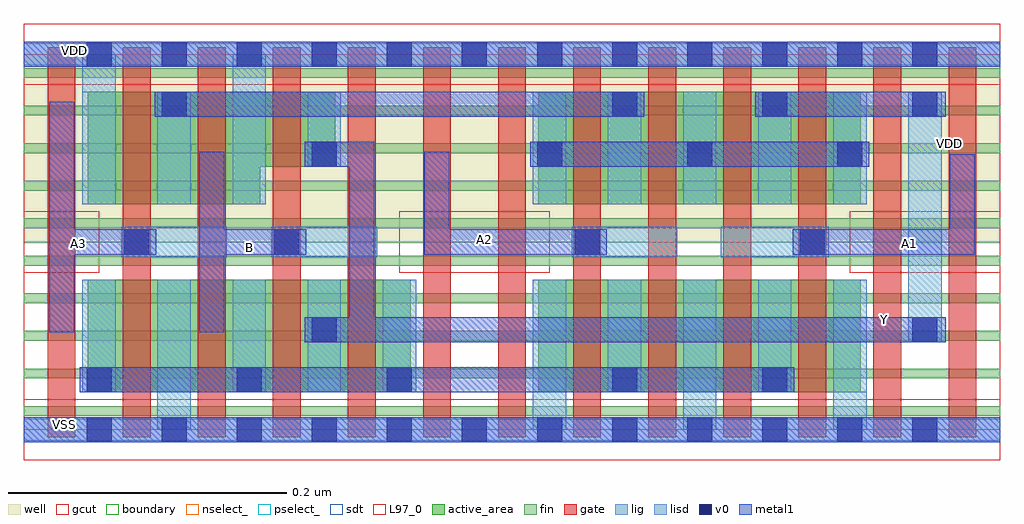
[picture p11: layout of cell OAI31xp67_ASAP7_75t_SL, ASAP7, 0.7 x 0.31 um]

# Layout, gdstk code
import gdstk
lib = gdstk.Library(unit=1e-6, precision=2.5e-10)
def R(c, l, rs):  # rectangles x0, y0, x1, y1
    for r in rs: c.add(gdstk.rectangle(r[:2], r[2:], *l))
def A(c, l, x, y, w, h, nx, ny, dx, dy):  # array of equal rectangles
    R(c, l, [(x+i*dx, y+j*dy, x+i*dx+w, y+j*dy+h) for i in range(nx) for j in range(ny)])
def P(c, l, *ps):  # polygons
    for p in ps: c.add(gdstk.Polygon(p, *l))
well = (1, 0)
fin = (2, 0)
gate = (7, 0)
gcut = (10, 0)
active_area = (11, 0)
nselect_ = (12, 0)
pselect_ = (13, 0)
lig = (16, 0)
lisd = (17, 0)
v0 = (18, 0)
metal1 = (19, 0)
sdt = (88, 0)
L97_0 = (97, 0)
boundary = (100, 0)

oai31xp67_asap7_75t_sl = lib.new_cell('OAI31xp67_ASAP7_75t_SL')
R(oai31xp67_asap7_75t_sl, well, [(0,0.135,0.702,0.27)])
A(oai31xp67_asap7_75t_sl, fin, 0, 0.01, 0.702, 0.007, 1, 10, 0, 0.027)
A(oai31xp67_asap7_75t_sl, gate, 0.017, -0.0055, 0.02, 0.2805, 13, 1, 0.054, 0)
R(oai31xp67_asap7_75t_sl, gcut, [(0,-0.022,0.702,0.022), (0,0.113,0.054,0.157), (0.27,0.113,0.378,0.157), (0.594,0.113,0.702,0.157), (0,0.248,0.702,0.292)])
R(oai31xp67_asap7_75t_sl, active_area, [(0.046,0.027,0.278,0.108), (0.37,0.027,0.602,0.108), (0.37,0.162,0.602,0.243)])
P(oai31xp67_asap7_75t_sl, active_area, [(0.224,0.243),(0.046,0.243),(0.046,0.162),(0.17,0.162),(0.17,0.189),(0.224,0.189)])
R(oai31xp67_asap7_75t_sl, nselect_, [(0,0,0.702,0.135)])
R(oai31xp67_asap7_75t_sl, pselect_, [(0,0.135,0.702,0.27)])
R(oai31xp67_asap7_75t_sl, lig, [(0,-0.008,0.702,0.008), (0.07,0.124,0.146,0.146), (0.178,0.124,0.254,0.146), (0.394,0.124,0.47,0.146), (0.501,0.124,0.579,0.146), (0,0.262,0.702,0.278)])
A(oai31xp67_asap7_75t_sl, lisd, 0.366, 0, 0.024, 0.108, 3, 1, 0.108, 0)
A(oai31xp67_asap7_75t_sl, lisd, 0.15, 0.027, 0.024, 0.081, 3, 1, 0.054, 0)
A(oai31xp67_asap7_75t_sl, lisd, 0.366, 0.162, 0.024, 0.081, 5, 1, 0.054, 0)
R(oai31xp67_asap7_75t_sl, lisd, [(0.096,0,0.12,0.108), (0.042,0.027,0.066,0.108), (0.42,0.027,0.444,0.108), (0.528,0.027,0.552,0.108), (0.636,0.063,0.66,0.243), (0.042,0.162,0.066,0.27), (0.096,0.162,0.12,0.243), (0.15,0.162,0.174,0.27), (0.204,0.189,0.228,0.243)])
A(oai31xp67_asap7_75t_sl, v0, 0.045, -0.009, 0.018, 0.018, 12, 2, 0.054, 0.27)
A(oai31xp67_asap7_75t_sl, v0, 0.045, 0.027, 0.018, 0.018, 3, 1, 0.108, 0)
A(oai31xp67_asap7_75t_sl, v0, 0.369, 0.189, 0.018, 0.018, 3, 1, 0.108, 0)
A(oai31xp67_asap7_75t_sl, v0, 0.423, 0.225, 0.018, 0.018, 3, 1, 0.108, 0)
R(oai31xp67_asap7_75t_sl, v0, [(0.423,0.027,0.441,0.045), (0.531,0.027,0.549,0.045), (0.207,0.063,0.225,0.081), (0.639,0.063,0.657,0.081), (0.072,0.126,0.09,0.144), (0.18,0.126,0.198,0.144), (0.396,0.126,0.414,0.144), (0.558,0.126,0.576,0.144), (0.207,0.189,0.225,0.207), (0.099,0.225,0.117,0.243)])
R(oai31xp67_asap7_75t_sl, metal1, [(0,-0.009,0.702,0.009), (0.04,0.027,0.554,0.045), (0.364,0.189,0.608,0.207), (0.094,0.225,0.446,0.243), (0.526,0.225,0.663,0.243), (0,0.261,0.702,0.279)])
P(oai31xp67_asap7_75t_sl, metal1, [(0.095,0.144),(0.036,0.144),(0.036,0.236),(0.018,0.236),(0.018,0.07),(0.036,0.07),(0.036,0.126),(0.095,0.126)],
  [(0.203,0.144),(0.144,0.144),(0.144,0.2),(0.126,0.2),(0.126,0.07),(0.144,0.07),(0.144,0.126),(0.203,0.126)],
  [(0.419,0.144),(0.306,0.144),(0.306,0.2),(0.288,0.2),(0.288,0.126),(0.419,0.126)],
  [(0.663,0.081),(0.252,0.081),(0.252,0.207),(0.202,0.207),(0.202,0.189),(0.234,0.189),(0.234,0.081),(0.202,0.081),(0.202,0.063),(0.663,0.063)],
  [(0.684,0.198),(0.666,0.198),(0.666,0.144),(0.553,0.144),(0.553,0.126),(0.684,0.126)])
A(oai31xp67_asap7_75t_sl, sdt, 0.042, 0.027, 0.024, 0.081, 5, 1, 0.054, 0)
A(oai31xp67_asap7_75t_sl, sdt, 0.366, 0.027, 0.024, 0.081, 5, 2, 0.054, 0.135)
A(oai31xp67_asap7_75t_sl, sdt, 0.042, 0.162, 0.024, 0.081, 3, 1, 0.054, 0)
R(oai31xp67_asap7_75t_sl, sdt, [(0.204,0.189,0.228,0.243)])
R(oai31xp67_asap7_75t_sl, L97_0, [(0,0,0.702,0.27)])
R(oai31xp67_asap7_75t_sl, boundary, [(0,0,0.702,0.27)])
oai31xp67_asap7_75t_sl.add(gdstk.Label('VDD', (0.666,0.206), layer=1, texttype=251))
oai31xp67_asap7_75t_sl.add(gdstk.Label('VSS', (0.029,0.004), layer=19, texttype=251))
oai31xp67_asap7_75t_sl.add(gdstk.Label('VDD', (0.036,0.2725), layer=19, texttype=251))
oai31xp67_asap7_75t_sl.add(gdstk.Label('A3', (0.039,0.134), layer=19, texttype=251))
oai31xp67_asap7_75t_sl.add(gdstk.Label('B', (0.162,0.131), layer=19, texttype=251))
oai31xp67_asap7_75t_sl.add(gdstk.Label('A1', (0.637,0.134), layer=19, texttype=251))
oai31xp67_asap7_75t_sl.add(gdstk.Label('A2', (0.331,0.137), layer=19, texttype=251))
oai31xp67_asap7_75t_sl.add(gdstk.Label('Y', (0.619,0.079), layer=19, texttype=251))
oai31xp67_asap7_75t_sl.add(gdstk.Label('VSS', (0.735,0.205), layer=3, texttype=251))

lib.write_gds('OAI31xp67_ASAP7_75t_SL.gds')
